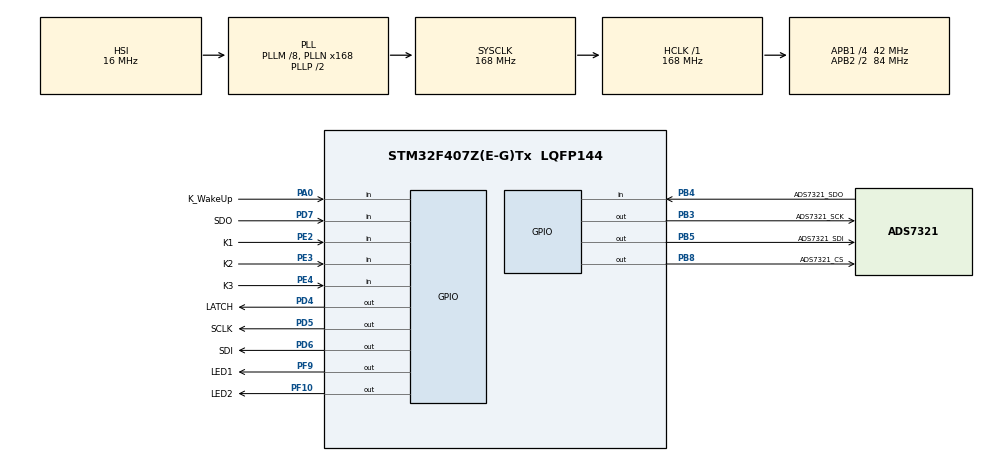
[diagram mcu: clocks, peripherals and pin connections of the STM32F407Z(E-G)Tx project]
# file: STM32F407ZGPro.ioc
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FREERTOS.Tasks01=Task1_LED,0,128,LED_Task,Default,NULL,Dynamic,NULL,NULL;Task2_AD5412,-3,128,AD5412Task,Default,NULL,Dynamic,NULL,NULL;Task3_KEY,-3,128,LEDTask,Default,NULL,Dynamic,NULL,NULL;Task4_AD7321,-3,128,ADTask,Default,NULL,Dynamic,NULL,NULL
Mcu.Family=STM32F4
Mcu.Name=STM32F407Z(E-G)Tx
Mcu.Package=LQFP144
NVIC.PriorityGroup=NVIC_PRIORITYGROUP_4
NVIC.TIM1_UP_TIM10_IRQn=true\:0\:0\:false\:false\:true\:false\:false\:true
NVIC.TimeBase=TIM1_UP_TIM10_IRQn
NVIC.TimeBaseIP=TIM1
PA0-WKUP.GPIO_Label=K_WakeUp
PA0-WKUP.GPIO_PuPd=GPIO_PULLDOWN
PA0-WKUP.Signal=GPIO_Input
PA13.Mode=Serial_Wire
PA13.Signal=SYS_JTMS-SWDIO
PA14.Mode=Serial_Wire
PA14.Signal=SYS_JTCK-SWCLK
PB3.GPIO_Label=ADS7321_SCK
PB3.GPIO_ModeDefaultOutputPP=GPIO_MODE_OUTPUT_PP
PB3.GPIO_PuPd=GPIO_PULLUP
PB3.GPIO_Speed=GPIO_SPEED_FREQ_VERY_HIGH
PB3.PinState=GPIO_PIN_SET
PB3.Signal=GPIO_Output
PB4.GPIO_Label=ADS7321_SDO
PB4.Signal=GPIO_Input
PB5.GPIO_Label=ADS7321_SDI
PB5.GPIO_ModeDefaultOutputPP=GPIO_MODE_OUTPUT_PP
PB5.GPIO_PuPd=GPIO_PULLUP
PB5.GPIO_Speed=GPIO_SPEED_FREQ_VERY_HIGH
PB5.PinState=GPIO_PIN_RESET
PB5.Signal=GPIO_Output
PB8.GPIO_Label=ADS7321_CS
PB8.GPIO_ModeDefaultOutputPP=GPIO_MODE_OUTPUT_PP
PB8.GPIO_PuPd=GPIO_PULLUP
PB8.GPIO_Speed=GPIO_SPEED_FREQ_MEDIUM
PB8.PinState=GPIO_PIN_SET
PB8.Signal=GPIO_Output
PC14-OSC32_IN.Mode=LSE-External-Clock-Source
PC14-OSC32_IN.Signal=RCC_OSC32_IN
PC15-OSC32_OUT.Mode=LSE-External-Clock-Source
PC15-OSC32_OUT.Signal=RCC_OSC32_OUT
PD4.GPIO_Label=LATCH
PD4.GPIO_ModeDefaultOutputPP=GPIO_MODE_OUTPUT_PP
PD4.GPIO_PuPd=GPIO_PULLUP
PD4.GPIO_Speed=GPIO_SPEED_FREQ_VERY_HIGH
PD4.PinState=GPIO_PIN_SET
PD4.Signal=GPIO_Output
PD5.GPIO_Label=SCLK
PD5.GPIO_PuPd=GPIO_PULLDOWN
PD5.GPIO_Speed=GPIO_SPEED_FREQ_VERY_HIGH
PD5.PinState=GPIO_PIN_RESET
PD5.Signal=GPIO_Output
PD6.GPIO_Label=SDI
PD6.GPIO_PuPd=GPIO_PULLUP
PD6.GPIO_Speed=GPIO_SPEED_FREQ_VERY_HIGH
PD6.Signal=GPIO_Output
PD7.GPIO_Label=SDO
PD7.GPIO_PuPd=GPIO_NOPULL
PD7.Signal=GPIO_Input
PE2.GPIO_Label=K1
PE2.GPIO_PuPd=GPIO_PULLUP
PE2.Signal=GPIO_Input
PE3.GPIO_Label=K2
PE3.GPIO_PuPd=GPIO_PULLUP
PE3.Signal=GPIO_Input
PE4.GPIO_Label=K3
PE4.GPIO_PuPd=GPIO_PULLUP
PE4.Signal=GPIO_Input
PF10.GPIO_Label=LED2
PF10.PinState=GPIO_PIN_SET
PF10.Signal=GPIO_Output
PF9.GPIO_Label=LED1
PF9.GPIO_ModeDefaultOutputPP=GPIO_MODE_OUTPUT_PP
PF9.GPIO_PuPd=GPIO_PULLUP
PF9.GPIO_Speed=GPIO_SPEED_FREQ_LOW
PF9.PinState=GPIO_PIN_SET
PF9.Signal=GPIO_Output
PH0-OSC_IN.Mode=HSE-External-Clock-Source
PH0-OSC_IN.Signal=RCC_OSC_IN
PH1-OSC_OUT.Mode=HSE-External-Clock-Source
PH1-OSC_OUT.Signal=RCC_OSC_OUT
ProjectManager.HeapSize=0x200
ProjectManager.StackSize=0x400
ProjectManager.TargetToolchain=TrueSTUDIO
RCC.48MHZClocksFreq_Value=84000000
RCC.AHBFreq_Value=168000000
RCC.APB1CLKDivider=RCC_HCLK_DIV4
RCC.APB1Freq_Value=42000000
RCC.APB1TimFreq_Value=84000000
RCC.APB2CLKDivider=RCC_HCLK_DIV2
RCC.APB2Freq_Value=84000000
RCC.APB2TimFreq_Value=168000000
RCC.CortexFreq_Value=168000000
RCC.HCLKFreq_Value=168000000
RCC.HSE_VALUE=8000000
RCC.HSI_VALUE=16000000
RCC.LSE_VALUE=32768
RCC.PLLM=8
RCC.PLLN=168
RCC.SYSCLKFreq_VALUE=168000000
RCC.SYSCLKSource=RCC_SYSCLKSOURCE_PLLCLK
RCC.VCOOutputFreq_Value=336000000
VP_FREERTOS_VS_CMSIS_V1.Mode=CMSIS_V1
VP_SYS_VS_tim1.Mode=TIM1
board=custom

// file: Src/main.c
/* USER CODE BEGIN Header */
/**
  ******************************************************************************
  * @file           : main.c
  * @brief          : Main program body
  ******************************************************************************
  * @attention
  *
  * <h2><center>&copy; Copyright (c) 2019 STMicroelectronics.
  * All rights reserved.</center></h2>
  *
  * This software component is licensed by ST under Ultimate Liberty license
  * SLA0044, the "License"; You may not use this file except in compliance with
  * the License. You may obtain a copy of the License at:
  *                             www.st.com/SLA0044
  *
  ******************************************************************************
  */
/* USER CODE END Header */

#include "main.h"
#include "cmsis_os.h"
#include "gpio.h"

void SystemClock_Config(void);
void MX_FREERTOS_Init(void);

int main(void)
{

  /* MCU Configuration--------------------------------------------------------*/

  /* Reset of all peripherals, Initializes the Flash interface and the Systick. */
  HAL_Init();

  /* Configure the system clock */
  SystemClock_Config();

  /* Initialize all configured peripherals */
  MX_GPIO_Init();

  /* Call init function for freertos objects (in freertos.c) */
  MX_FREERTOS_Init();

  /* Start scheduler */
  osKernelStart();

  /* We should never get here as control is now taken by the scheduler */

  /* Infinite loop */
  while (1)
  {

  }
}

void SystemClock_Config(void)
{
  RCC_OscInitTypeDef RCC_OscInitStruct = {0};
  RCC_ClkInitTypeDef RCC_ClkInitStruct = {0};

  /** Configure the main internal regulator output voltage
  */
  __HAL_RCC_PWR_CLK_ENABLE();
  __HAL_PWR_VOLTAGESCALING_CONFIG(PWR_REGULATOR_VOLTAGE_SCALE1);
  /** Initializes the CPU, AHB and APB busses clocks
  */
  RCC_OscInitStruct.OscillatorType = RCC_OSCILLATORTYPE_HSI;
  RCC_OscInitStruct.HSIState = RCC_HSI_ON;
  RCC_OscInitStruct.HSICalibrationValue = RCC_HSICALIBRATION_DEFAULT;
  RCC_OscInitStruct.PLL.PLLState = RCC_PLL_ON;
  RCC_OscInitStruct.PLL.PLLSource = RCC_PLLSOURCE_HSI;
  RCC_OscInitStruct.PLL.PLLM = 8;
  RCC_OscInitStruct.PLL.PLLN = 168;
  RCC_OscInitStruct.PLL.PLLP = RCC_PLLP_DIV2;
  RCC_OscInitStruct.PLL.PLLQ = 4;
  if (HAL_RCC_OscConfig(&RCC_OscInitStruct) != HAL_OK)
  {
    Error_Handler();
  }
  /** Initializes the CPU, AHB and APB busses clocks
  */
  RCC_ClkInitStruct.ClockType = RCC_CLOCKTYPE_HCLK|RCC_CLOCKTYPE_SYSCLK
                              |RCC_CLOCKTYPE_PCLK1|RCC_CLOCKTYPE_PCLK2;
  RCC_ClkInitStruct.SYSCLKSource = RCC_SYSCLKSOURCE_PLLCLK;
  RCC_ClkInitStruct.AHBCLKDivider = RCC_SYSCLK_DIV1;
  RCC_ClkInitStruct.APB1CLKDivider = RCC_HCLK_DIV4;
  RCC_ClkInitStruct.APB2CLKDivider = RCC_HCLK_DIV2;

  if (HAL_RCC_ClockConfig(&RCC_ClkInitStruct, FLASH_LATENCY_5) != HAL_OK)
  {
    Error_Handler();
  }
}

void HAL_TIM_PeriodElapsedCallback(TIM_HandleTypeDef *htim)
{
  if (htim->Instance == TIM1) {
    HAL_IncTick();
  }
}

void Error_Handler(void)
{
}

/************************ (C) COPYRIGHT STMicroelectronics *****END OF FILE****/

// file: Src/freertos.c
/* USER CODE BEGIN Header */
/**
  ******************************************************************************
  * File Name          : freertos.c
  * Description        : Code for freertos applications
  ******************************************************************************
  * @attention
  *
  * <h2><center>&copy; Copyright (c) 2019 STMicroelectronics.
  * All rights reserved.</center></h2>
  *
  * This software component is licensed by ST under Ultimate Liberty license
  * SLA0044, the "License"; You may not use this file except in compliance with
  * the License. You may obtain a copy of the License at:
  *                             www.st.com/SLA0044
  *
  ******************************************************************************
  */
/* USER CODE END Header */

#include "FreeRTOS.h"
#include "task.h"
#include "main.h"
#include "cmsis_os.h"

/* USER CODE BEGIN Includes */
#include "AD5412Driver.h"
#include "KEYDriver.h"
#include "ADS7321Driver.h"

/* USER CODE END Includes */

/* USER CODE BEGIN Variables */
uint8_t FlagLed = 0;
uint8_t ModeSel = 0;
unsigned char buf[4] = {0, 0, 0, 0};	//用于写入AD5412数组

/* USER CODE END Variables */
osThreadId Task1_LEDHandle;
osThreadId Task2_AD5412Handle;
osThreadId Task3_KEYHandle;
osThreadId Task4_AD7321Handle;

void LED_Task(void const * argument);
void AD5412Task(void const * argument);
void LEDTask(void const * argument);
void ADTask(void const * argument);

void MX_FREERTOS_Init(void); /* (MISRA C 2004 rule 8.1) */

/* GetIdleTaskMemory prototype (linked to static allocation support) */
void vApplicationGetIdleTaskMemory( StaticTask_t **ppxIdleTaskTCBBuffer, StackType_t **ppxIdleTaskStackBuffer, uint32_t *pulIdleTaskStackSize );

/* USER CODE BEGIN GET_IDLE_TASK_MEMORY */
static StaticTask_t xIdleTaskTCBBuffer;
static StackType_t xIdleStack[configMINIMAL_STACK_SIZE];

void vApplicationGetIdleTaskMemory( StaticTask_t **ppxIdleTaskTCBBuffer, StackType_t **ppxIdleTaskStackBuffer, uint32_t *pulIdleTaskStackSize )
{
  *ppxIdleTaskTCBBuffer = &xIdleTaskTCBBuffer;
  *ppxIdleTaskStackBuffer = &xIdleStack[0];
  *pulIdleTaskStackSize = configMINIMAL_STACK_SIZE;
  /* place for user code */
}
/* USER CODE END GET_IDLE_TASK_MEMORY */

void MX_FREERTOS_Init(void) {

  /* Create the thread(s) */
  /* definition and creation of Task1_LED */
  osThreadDef(Task1_LED, LED_Task, osPriorityNormal, 0, 128);
  Task1_LEDHandle = osThreadCreate(osThread(Task1_LED), NULL);

  /* definition and creation of Task2_AD5412 */
  osThreadDef(Task2_AD5412, AD5412Task, osPriorityIdle, 0, 128);
  Task2_AD5412Handle = osThreadCreate(osThread(Task2_AD5412), NULL);

  /* definition and creation of Task3_KEY */
  osThreadDef(Task3_KEY, LEDTask, osPriorityIdle, 0, 128);
  Task3_KEYHandle = osThreadCreate(osThread(Task3_KEY), NULL);

  /* definition and creation of Task4_AD7321 */
  osThreadDef(Task4_AD7321, ADTask, osPriorityIdle, 0, 128);
  Task4_AD7321Handle = osThreadCreate(osThread(Task4_AD7321), NULL);

}

void LED_Task(void const * argument)
{

  /* USER CODE BEGIN LED_Task */
  /* Infinite loop */
  for(;;)
  {
	  HAL_GPIO_TogglePin(LED1_GPIO_Port, LED1_Pin);
    osDelay(250);
  }
  /* USER CODE END LED_Task */
}

void AD5412Task(void const * argument)
{
  /* USER CODE BEGIN AD5412Task */
//	uint16_t data;

//	data = CurrentToData(IOUT_4_20,20);

//	buf[ 2 ] = 0x56;
//	buf[ 1 ] = 0x00;
//	buf[ 0 ] = 0x01;
//	WriteToAD5422(3, buf);	//Write 551000 到控制寄存器

	buf[2] = 0x55;	//控制寄存器
	buf[1] = 0x10;	//Disable Slew Rate	while selecting the current mode
//	buf[0] = 0x00;				//Selecting the Voltage Mode(0V - 5V)
//	buf[0] = 0x01;				//Selecting the Voltage Mode(0V - 10V)
//	buf[0] = 0x02;				//Selecting the Voltage Mode(-5V - 5V)
//	buf[0] = 0x03;				//Selecting the Voltage Mode(-10V - 10V)
	buf[0] = 0x05;				//Selecting the Current Mode(4mA - 20mA)
//	buf[0] = 0x06;				//Selecting the Current Mode(0mA - 20mA)
//	buf[0] = 0x07;				//Selecting the Current Mode(0mA - 24mA)

	WriteToAD5422(3, buf);	//Write 551000 到控制寄存器

	buf[2] = 0x01;	//数据寄存器
	buf[1] = 0x00;	//
	buf[1] = 0x00;
	WriteToAD5422(3, buf);	//Write 0x010000 to SHIFT REGISTER  to write 0x018000 to DATA REGISTER
	osDelay(1000);

//
//	buf[2] = 0x02;
//	buf[1] = 0x00;
//	buf[0] = 0x01;			    //Read data register
//	WriteToAD5422(3,buf);
  /* Infinite loop */
  for(;;)
  {
	  if( ModeSel == 0 )
	  {
		  //4
		  	  if(FlagLed == 1)
		  	  {
		  		  HAL_GPIO_TogglePin(LED2_GPIO_Port, LED2_Pin);
		  		  buf[2] = 0x01;
		  		  buf[1] = 0x00;
		  		  buf[0] = 0x00;
		  	  }

		  	  //5
		  	  else if(FlagLed == 2)
		  	  {
		  		  HAL_GPIO_WritePin(LED2_GPIO_Port, LED2_Pin, GPIO_PIN_RESET);	//长亮
		  		  buf[2] = 0x01;
		  		  buf[1] = 0x10;
		  		  buf[0] = 0x00;
		  	  }

		  	  //6
		  	  else if(FlagLed == 3)
		  	  {
		  		  buf[2] = 0x01;
		  		  buf[1] = 0x20;
		  		  buf[0] = 0x00;
		  	  }

		  	  //7
		  	  else if(FlagLed == 4)
		  	  {
		  		  buf[2] = 0x01;
		  		  buf[1] = 0x30;
		  		  buf[0] = 0x00;
		  	  }

		  	  //8
		  	  else if(FlagLed == 5)
		  	  {
		  		  buf[2] = 0x01;
		  		  buf[1] = 0x40;
		  		  buf[0] = 0x00;
		  	  }

		  	  //9
		  	  else if(FlagLed == 6)
		  	  {
		  		  buf[2] = 0x01;
		  		  buf[1] = 0x50;
		  		  buf[0] = 0x00;
		  	  }

		  	  //10
		  	  else if(FlagLed == 7)
			  {
				  buf[2] = 0x01;
				  buf[1] = 0x60;
				  buf[0] = 0x00;
			  }

		  	  //11
		  	  else if(FlagLed == 8)
			  {
				  buf[2] = 0x01;
				  buf[1] = 0x70;
				  buf[0] = 0x00;
			  }

		  	  //12
		  	  else if(FlagLed == 9)
		  	  	  {
		  	  		  buf[2] = 0x01;
		  	  		  buf[1] = 0x80;
		  	  		  buf[0] = 0x00;
		  	  	  }

		  	  //13
		  	  else if(FlagLed == 10)
		  	  	  {
		  	  		  buf[2] = 0x01;
		  	  		  buf[1] = 0x90;
		  	  		  buf[0] = 0x00;
		  	  	  }

		  	  //14
		  	  else if(FlagLed == 11)
		  	  	  {
		  	  		  buf[2] = 0x01;
		  	  		  buf[1] = 0xA0;
		  	  		  buf[0] = 0x00;
		  	  	  }

		  	  //15
		  	  else if(FlagLed == 12)
		  	  	  {
		  	  		  buf[2] = 0x01;
		  	  		  buf[1] = 0xB0;
		  	  		  buf[0] = 0x00;
		  	  	  }

		  	  //16
		  	  else if(FlagLed == 13)
		  	  	  {
		  	  		  buf[2] = 0x01;
		  	  		  buf[1] = 0xC0;
		  	  		  buf[0] = 0x00;
		  	  	  }

		  	  //17
		  	  else if(FlagLed == 14)
		  	  	  {
		  	  		  buf[2] = 0x01;
		  	  		  buf[1] = 0xD0;
		  	  		  buf[0] = 0x00;
		  	  	  }

		  	  //18
		  	  else if(FlagLed == 15)
		  	  	  {
		  	  		  buf[2] = 0x01;
		  	  		  buf[1] = 0xE0;
		  	  		  buf[0] = 0x00;
		  	  	  }

		  	  //19
		  	  else if(FlagLed == 16)
		  	  	  {
		  	  		  buf[2] = 0x01;
		  	  		  buf[1] = 0xf0;
		  	  		  buf[0] = 0x00;
		  	  	  }

		  	  //20
		  	  else if(FlagLed == 17)
		  	  	  {
		  	  		  buf[2] = 0x01;
		  	  		  buf[1] = 0xff;
		  	  		  buf[0] = 0xff;
		  	  		  FlagLed = 0;
		  	  	  }

	  }

	  if( ModeSel == 1 )
	  {
		  //0V
		  if( FlagLed == 1)
		  {
			  buf[2] = 0x01;
			  buf[1] = 0x00;
			  buf[0] = 0x00;
			  WriteToAD5422(3, buf);
		  }

		  //0.5V
		  else if( FlagLed == 2 )
		  {
			  buf[2] = 0x01;
			  buf[1] = 0x19;
			  buf[0] = 0x99;
			  WriteToAD5422(3, buf);
		  }

		  //1V
		  else if( FlagLed == 3 )
		  {
			  buf[2] = 0x01;
			  buf[1] = 0x33;
			  buf[0] = 0x33;
			  WriteToAD5422(3, buf);
		  }

		  //1.5V
		  else if( FlagLed == 4 )
		  {
			  buf[2] = 0x01;
			  buf[1] = 0x4C;
			  buf[0] = 0xCC;
			  WriteToAD5422(3, buf);
		  }

		  //2V
		  else if( FlagLed == 5 )
		  {
			  buf[2] = 0x01;
			  buf[1] = 0x66;
			  buf[0] = 0x66;
			  WriteToAD5422(3, buf);
		  }

		  //2.5V
		  else if( FlagLed == 6 )
		  {
			  buf[2] = 0x01;
			  buf[1] = 0x80;
			  buf[0] = 0x00;
			  WriteToAD5422(3, buf);
		  }

		  //3V
		  else if( FlagLed == 7 )
		  {
			  buf[2] = 0x01;
			  buf[1] = 0x99;
			  buf[0] = 0x99;
			  WriteToAD5422(3, buf);
		  }

		  //3.5V
		  else if( FlagLed == 8 )
		  {
			  buf[2] = 0x01;
			  buf[1] = 0xB3;
			  buf[0] = 0x33;
			  WriteToAD5422(3, buf);
		  }

		  //4V
		  else if( FlagLed == 9 )
		  {
			  buf[2] = 0x01;
			  buf[1] = 0xCC;
			  buf[0] = 0xCC;
			  WriteToAD5422(3, buf);
		  }

		  //4.5V
		  else if( FlagLed == 10 )
		  {
			  buf[2] = 0x01;
			  buf[1] = 0xE6;
			  buf[0] = 0x66;
			  WriteToAD5422(3, buf);
		  }

		  //5V
		  else if( FlagLed == 11 )
		  {
			  buf[2] = 0x01;
			  buf[1] = 0xFF;
			  buf[0] = 0xFF;
			  WriteToAD5422(3, buf);
			  FlagLed = 0;
		  }

	  }

	  if( ucKeyValue == KeyNone )
	  {
		  return;
	  }
	  /* 如果按键1按下，选择为0-5V模式 */
	  else if( ( ucKeyValue == KEY_ONE ) && ( FlagLed == 0 ) )
	  {
		  buf[2] = 0x55;	//控制寄存器
		  buf[1] = 0x10;	//Disable Slew Rate	while selecting the current mode
		  buf[0] = 0x00;				//Selecting the Voltage Mode(0V - 5V)
		  WriteToAD5422(3, buf);
		  ModeSel = 1;
	  }

//	  /* 按键2选择 0-10V */
//	  else if( ( ucKeyValue == KEY_TWO ) && ( FlagLed == 0 ) )
//	  {
//		  buf[2] = 0x55;	//控制寄存器
//		  buf[1] = 0x10;	//Disable Slew Rate	while selecting the current mode
//		  buf[0] = 0x01;				//Selecting the Voltage Mode(0V - 10V)
//		  WriteToAD5422(3, buf);
//	  }
//
//	  /* 按键3选择 4-20mA */
//	  else if( ( ucKeyValue == KEY_THREE ) && ( FlagLed == 0 ) )
//	  {
//		  buf[2] = 0x55;	//控制寄存器
//		  buf[1] = 0x10;	//Disable Slew Rate	while selecting the current mode
//		  buf[0] = 0x06;				//Selecting the Current Mode(4mA - 20mA)
//		  WriteToAD5422(3, buf);
//	  }

    osDelay(500);
  }
  /* USER CODE END AD5412Task */
}

void LEDTask(void const * argument)
{
  /* USER CODE BEGIN LEDTask */
	uint16_t key;

  /* Infinite loop */
  for(;;)
  {
	  key = ReadKeyStatus();
	  if(key == OnceKeyDown)
	  {
		  FlagLed += 1;
	  }
	  if(key == ContiousKeyDown)
	  {
		  FlagLed = 8;
	  }
	  /* 状态机按键扫描，推荐10ms定时 */
	  KeyProcess();

	  WriteToAD5422(3,buf);		//Write 0x018000 to SHIFT REGISTER  to write 0x018000 to DATA REGISTER

    osDelay(10);
  }
  /* USER CODE END LEDTask */
}

void ADTask(void const * argument)
{
  /* USER CODE BEGIN ADTask */
	uint16_t ad_value;

	/* 配置控制寄存器 */
	AD7321_Read_Wite( CONTROL_REGISTER | ADD0_VIN0 | SINGLE_ENDED | NORMAL_MODE | SEQUENCER_NOT_USED | TWOS_COMPLEMENT_CODING | INTERNAL_REF );

	/* 配置范围寄存器 */
	AD7321_Read_Wite( RANGE_REGISTER | VIN0_5V );

  /* Infinite loop */
  for(;;)
  {
	  ad_value =  AD7321_Read_Wite( CONVENTION );
//	  printf( "%d/r/n", ad_hvalue );

    osDelay(1000);
  }
  /* USER CODE END ADTask */
}

/************************ (C) COPYRIGHT STMicroelectronics *****END OF FILE****/
